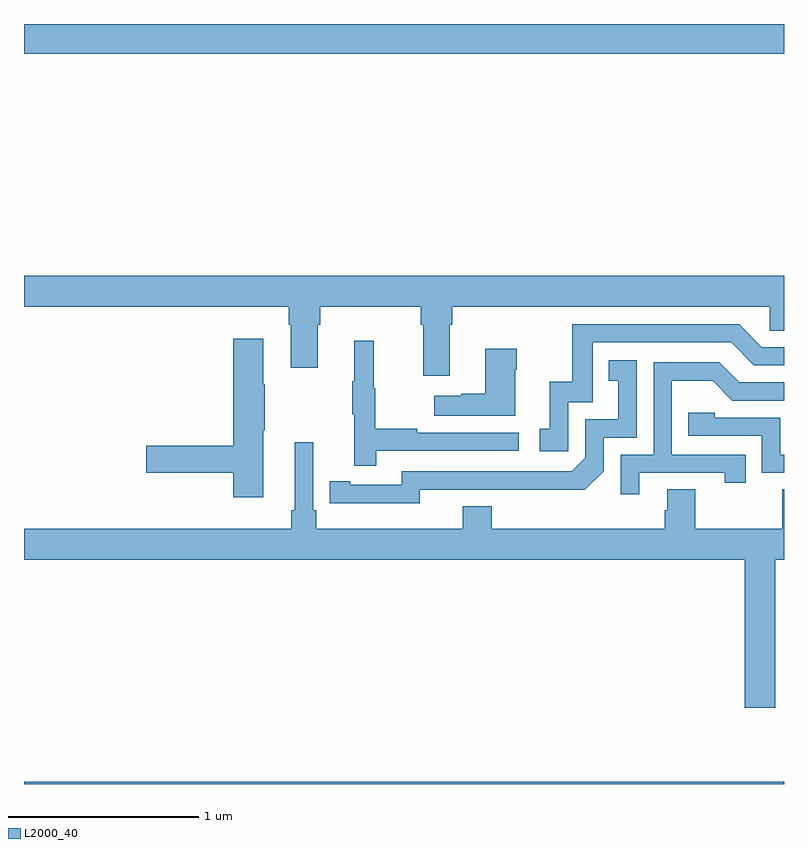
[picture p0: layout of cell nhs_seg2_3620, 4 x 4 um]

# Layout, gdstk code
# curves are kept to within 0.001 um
import gdstk
lib = gdstk.Library(unit=1e-6, precision=1e-09)
def R(c, l, rs):  # rectangles x0, y0, x1, y1
    for r in rs: c.add(gdstk.rectangle(r[:2], r[2:], *l))
def P(c, l, *ps):  # polygons
    for p in ps: c.add(gdstk.Polygon(p, *l))
L2000_40 = (2000, 40)

nhs_seg2_3620 = lib.new_cell('nhs_seg2_3620')
R(nhs_seg2_3620, L2000_40, [(301,635.8,305,635.812), (301,639.644,305,639.8)])
P(nhs_seg2_3620, L2000_40, [(303.241,638.216),(303.254,638.216),(303.254,638.312),(304.926,638.312),(304.926,638.185),(305,638.185),(305,638.476),(301,638.476),(301,638.312),(302.393,638.312),(302.393,638.216),(302.405,638.216),(302.405,637.992),(302.545,637.992),(302.545,638.216),(302.558,638.216),(302.558,638.312),(303.089,638.312),(303.089,638.216),(303.101,638.216),(303.101,637.95),(303.241,637.95)],
  [(303.864,637.809),(303.993,637.809),(303.993,638.124),(304.722,638.124),(304.842,638.004),(305,638.004),(305,638.1),(304.884,638.1),(304.764,638.22),(303.885,638.22),(303.885,637.918),(303.767,637.918),(303.767,637.671),(303.714,637.671),(303.714,637.551),(303.864,637.551)],
  [(302.26,637.663),(302.268,637.663),(302.268,637.904),(302.26,637.904),(302.26,638.143),(302.102,638.143),(302.102,637.58),(301.644,637.58),(301.644,637.438),(302.102,637.438),(302.102,637.308),(302.26,637.308)],
  [(302.855,637.554),(303.604,637.554),(303.604,637.65),(303.071,637.65),(303.071,637.67),(302.848,637.67),(302.848,637.884),(302.84,637.884),(302.84,638.134),(302.738,638.134),(302.738,637.921),(302.727,637.921),(302.727,637.747),(302.738,637.747),(302.738,637.476),(302.855,637.476)],
  [(303.586,637.979),(303.594,637.979),(303.594,638.092),(303.428,638.092),(303.428,637.853),(303.302,637.853),(303.302,637.843),(303.159,637.843),(303.159,637.739),(303.586,637.739)],
  [(303.084,637.35),(303.952,637.349),(304.05,637.446),(304.05,637.623),(304.224,637.623),(304.224,638.029),(304.078,638.029),(304.078,637.923),(304.127,637.923),(304.127,637.719),(303.954,637.719),(303.954,637.518),(303.882,637.446),(302.988,637.446),(302.988,637.374),(302.716,637.374),(302.716,637.394),(302.608,637.394),(302.608,637.278),(303.084,637.277)],
  [(304.237,637.437),(304.688,637.437),(304.688,637.386),(304.799,637.386),(304.799,637.533),(304.41,637.533),(304.41,637.922),(304.624,637.922),(304.728,637.818),(305,637.818),(305,637.914),(304.765,637.914),(304.66,638.019),(304.314,638.019),(304.314,637.533),(304.14,637.533),(304.14,637.326),(304.237,637.326)],
  [(305,637.533),(304.98,637.533),(304.98,637.728),(304.635,637.728),(304.635,637.755),(304.495,637.755),(304.495,637.632),(304.884,637.632),(304.884,637.437),(305,637.437)],
  [(304.953,636.98),(305,636.98),(305,637.352),(304.99,637.352),(304.99,637.144),(304.533,637.144),(304.533,637.352),(304.385,637.352),(304.385,637.242),(304.373,637.242),(304.373,637.144),(303.461,637.144),(303.461,637.261),(303.308,637.261),(303.308,637.144),(302.537,637.144),(302.537,637.24),(302.523,637.24),(302.523,637.6),(302.426,637.6),(302.426,637.24),(302.407,637.24),(302.407,637.144),(301,637.144),(301,636.98),(304.793,636.98),(304.793,636.201),(304.953,636.201)])

lib.write_gds('nhs_seg2_3620.gds')
